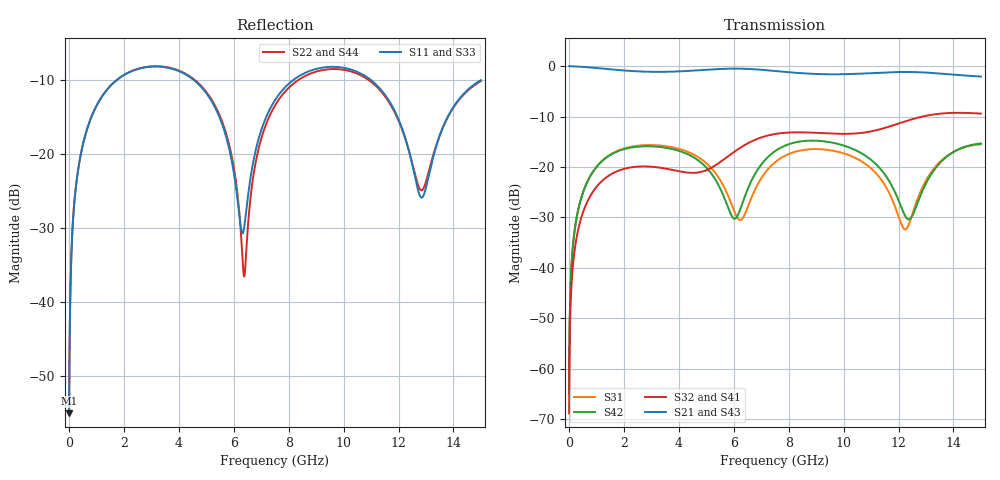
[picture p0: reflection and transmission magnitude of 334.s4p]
! Created with skrf 1.8.0 (http://scikit-rf.org).
# GHz S RI R 50.0
!freq ReS11 ImS11 ReS12 ImS12 ReS13 ImS13
! ReS14 ImS14
! ReS21 ImS21 ReS22 ImS22 ReS23 ImS23
! ReS24 ImS24
! ReS31 ImS31 ReS32 ImS32 ReS33 ImS33
! ReS34 ImS34
! ReS41 ImS41 ReS42 ImS42 ReS43 ImS43
! ReS44 ImS44
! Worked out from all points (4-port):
!   2499 points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, 5 MHz to 15 GHz, reference 50 ohm
!   strongest paths, dB at 5 MHz, 3.476 GHz, 7.19 GHz, 11.1 GHz, 15 GHz:
!     S21: 0.0, -1.1, -0.8, -1.4, -2.1
!     S43: 0.0, -1.1, -0.8, -1.4, -2.1
!     S32: -68.9, -20.3, -13.8, -12.8, -9.4
!     S41: -68.9, -20.4, -13.9, -12.9, -9.5
!     S42: -64.9, -16.2, -18.3, -19.0, -15.3
!     S31: -64.9, -15.8, -20.8, -20.8, -15.5
!   lowest |S11| = -55.0 dB at 5 MHz (marker M1), VSWR 1.00, Z = 50.1 + j0.107 ohm
!   |S11| at or under -10 dB: start of sweep to 1.742 GHz; 4.548 GHz to 8.165 GHz (3.618 GHz wide, 56.9 % of centre); 11 GHz to end of sweep
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0.005  0.00141 0.00107  0.9986 -0.00275  7.05e-05 0.000567  -6.84e-05 -0.000354
       0.9986 -0.00275  0.00141 0.00107  -6.84e-05 -0.000354  7.04e-05 0.000567
       7.05e-05 0.000567  -6.84e-05 -0.000354  0.00141 0.00107  0.9986 -0.00275
       -6.84e-05 -0.000354  7.04e-05 0.000567  0.9986 -0.00275  0.00141 0.00107
0.3626511  0.0233 0.0815  0.9679 -0.198  0.0113 0.039  -0.00913 -0.0241
           0.9679 -0.198  0.0234 0.0815  -0.00914 -0.0241  0.0108 0.0391
           0.0113 0.039  -0.00914 -0.0241  0.0233 0.0815  0.9679 -0.198
           -0.00913 -0.0241  0.0108 0.0391  0.9679 -0.198  0.0234 0.0815
1.619545  0.2363 0.1885  0.6169 -0.687  0.1204 0.0679  -0.0854 -0.0171
          0.6169 -0.687  0.238 0.1876  -0.0855 -0.0169  0.1147 0.0745
          0.1204 0.0679  -0.0855 -0.0169  0.2363 0.1886  0.6169 -0.687
          -0.0854 -0.0171  0.1147 0.0745  0.6169 -0.687  0.2381 0.1876
5.089621  0.1703 -0.1753  -0.686 -0.6179  0.0286 -0.0994  -0.0415 0.0848
          -0.686 -0.6179  0.1645 -0.1873  -0.0399 0.0863  0.0686 -0.0623
          0.0286 -0.0994  -0.0399 0.0863  0.1718 -0.1754  -0.6856 -0.6178
          -0.0415 0.0848  0.0686 -0.0623  -0.6856 -0.6178  0.1649 -0.189
6.38391  0.0296 0.0128  -0.9391 -0.0553  -0.0247 0.0221  -0.00671 0.1638
         -0.9391 -0.0553  0.0149 0.000494  -0.00316 0.164  0.0398 0.0289
         -0.0247 0.0221  -0.00316 0.164  0.031 0.0105  -0.9391 -0.0558
         -0.00671 0.1638  0.0398 0.0289  -0.9391 -0.0558  0.014 -0.00179
10.36057  0.3513 -0.1087  0.1835 0.816  0.0885 -0.0887  0.1922 -0.0903
          0.1835 0.816  0.3458 -0.0897  0.1903 -0.0982  0.0867 -0.1222
          0.0885 -0.0887  0.1903 -0.0982  0.3472 -0.1083  0.1855 0.8168
          0.1922 -0.0903  0.0867 -0.1222  0.1855 0.8168  0.3435 -0.0905
15  0.288 0.1293  0.4777 -0.6265  0.164 -0.0342  -0.2924 -0.1651
    0.4777 -0.6265  0.2824 0.1306  -0.3022 -0.1519  0.1665 -0.0383
    0.164 -0.0342  -0.3022 -0.1519  0.2843 0.1306  0.4746 -0.6287
    -0.2924 -0.1651  0.1665 -0.0383  0.4746 -0.6287  0.2873 0.1273
